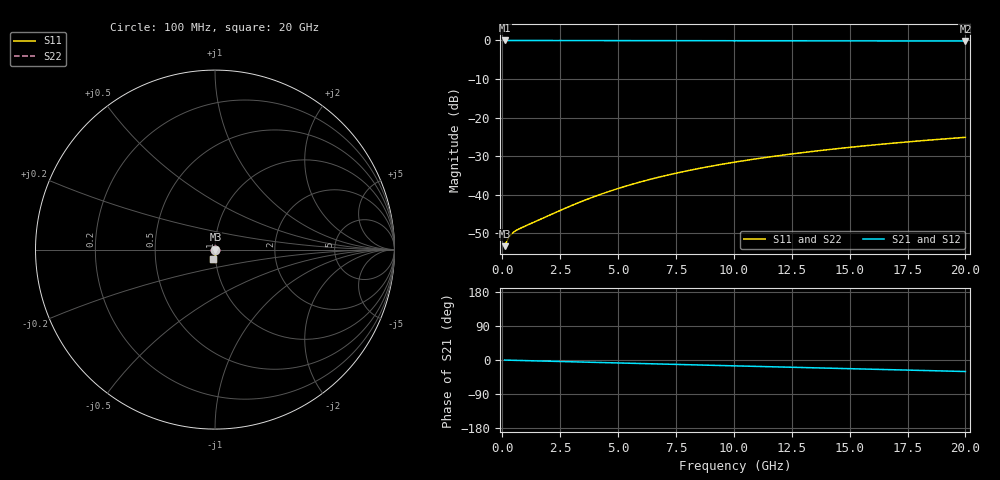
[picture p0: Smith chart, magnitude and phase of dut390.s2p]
! Touchstone file exported from HFSS 2026.1.0
!  File:  C:/ffzhzh/LocalFiles/Ansys_Project_Files/temp_train_BSMRDL_390_1783012133_4048.aedt
!  Generated:  01:10:06 AM Jul  3, 2026
!  Design:  BSMRDL
!  Project:  temp_train_BSMRDL_390_1783012133_4048
! Variables:
!  h_bsmrdl = 4.3um
!  h_ox = 20um
!  h_rdl = 5um
!  h_sub = 80um
!  h_tmrdl = 5um
!  h_tsv = 80um
!  h_via = 3um
!  l_bsmrdl = 538.11um
!  l_sub = 938.11um
!  l_tmrdl = 200um
!  m_sub = 200um
!  pitch = 27.94um
!  r_tsv = 6um
!  s_tmrdl = 10um
!  w_bsmrdl = 24.3um
!  w_sub = 500um
!  w_tmrdl = 12um
!  x_tsv_center1 = 206um
!  x_tsv_center2 = 768.41um
!  x_tsv_center3 = 980.41um
!  x_tsv_center4 = 1542.82um
!  x_tsv_center5 = 1754.82um
!  x_tsv_center6 = 2317.23um
# GHz S MA R 50.000000
! Terminal data exported
! Port[1] = BSM_RDL1_1_T1
! Port[2] = BSM_RDL1_1_T2
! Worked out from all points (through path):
!   200 points, 100 MHz to 20 GHz, reference 50 ohm
!   highest |S21| = -0.02 dB at 100 MHz (marker M1); lowest = -0.2 dB at 20 GHz (marker M2)
!   group delay of S21, straight-line fit = 4.2 ps
!   lowest |S11| = -53.3 dB at 100 MHz (marker M3), VSWR 1.00, Z = 50.2 + j0.0357 ohm
!   |S11| at or under -10 dB: start of sweep to end of sweep
!   |S22| runs from -53.3 to -25.1 dB; largest |S21 - S12| = 2.6e-15
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0.1  0.002154 9.5  0.9979 -0.2  0.9979 -0.2  0.002154 9.5
! Gamma 0 0 0 0
! Port Impedance 50 0 50 0
0.2  0.002524 11.3  0.9975 -0.4  0.9975 -0.4  0.002524 11.3
0.3  0.002856 8.7  0.9972 -0.5  0.9972 -0.5  0.002856 8.6
0.4  0.003105 4.6  0.9969 -0.7  0.9969 -0.7  0.003105 4.6
0.5  0.003294 0.5  0.9967 -0.8  0.9967 -0.8  0.003294 0.5
0.6  0.003446 -3.4  0.9966 -1.0  0.9966 -1.0  0.003445 -3.5
0.9  0.003818 -13.5  0.9963 -1.5  0.9963 -1.5  0.003817 -13.5
2.5  0.006253 -42.6  0.9951 -4.0  0.9951 -4.0  0.006249 -42.6
3.5  0.00835 -51.7  0.9942 -5.5  0.9942 -5.5  0.008343 -51.7
4.3  0.01025 -57.0  0.9934 -6.8  0.9934 -6.8  0.01024 -57.0
5.1  0.01231 -61.3  0.9926 -8.0  0.9926 -8.0  0.01229 -61.4
5.9  0.01446 -65.1  0.9918 -9.2  0.9918 -9.2  0.01445 -65.2
6.8  0.01699 -68.9  0.9909 -10.6  0.9909 -10.6  0.01697 -69.0
7.6  0.01928 -72.0  0.9902 -11.8  0.9902 -11.8  0.01926 -72.1
8.4  0.02161 -74.8  0.9895 -13.0  0.9895 -13.0  0.02159 -74.9
9.2  0.02396 -77.4  0.9888 -14.2  0.9888 -14.2  0.02393 -77.5
10.1  0.02662 -80.2  0.9881 -15.6  0.9881 -15.6  0.02659 -80.3
11.7  0.03137 -84.7  0.9869 -18.0  0.9869 -18.0  0.03133 -84.8
13.4  0.0364 -89.0  0.9857 -20.5  0.9857 -20.5  0.03635 -89.1
15  0.0411 -92.7  0.9847 -22.9  0.9847 -22.9  0.04104 -92.9
16.7  0.04605 -96.5  0.9835 -25.5  0.9835 -25.5  0.04598 -96.7
20  0.05544 -103.2  0.9814 -30.4  0.9814 -30.4  0.05535 -103.4
